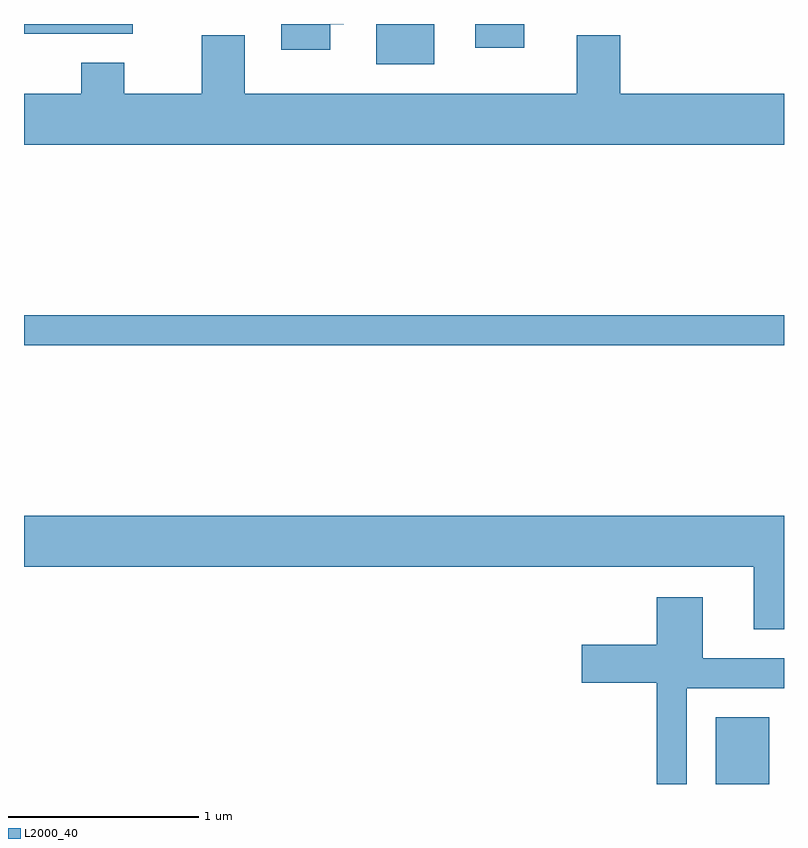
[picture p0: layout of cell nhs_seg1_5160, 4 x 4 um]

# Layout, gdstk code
import gdstk
lib = gdstk.Library(unit=1e-6, precision=1e-09)
def R(c, l, rs):  # rectangles x0, y0, x1, y1
    for r in rs: c.add(gdstk.rectangle(r[:2], r[2:], *l))
def P(c, l, *ps):  # polygons
    for p in ps: c.add(gdstk.Polygon(p, *l))
L2000_40 = (2000, 40)

nhs_seg1_5160 = lib.new_cell('nhs_seg1_5160')
R(nhs_seg1_5160, L2000_40, [(343.251,951.712,343.534,952.064), (339.611,954.021,343.611,954.179), (341.466,955.501,341.769,955.712), (341.986,955.586,342.244,955.712), (339.611,955.661,340.184,955.712)])
P(nhs_seg1_5160, L2000_40, [(341.224,955.711),(341.294,955.711),(341.294,955.712),(340.966,955.712),(340.966,955.576),(341.224,955.576)],
  [(343.611,955.344),(342.749,955.344),(342.749,955.654),(342.521,955.654),(342.521,955.344),(340.774,955.344),(340.774,955.654),(340.546,955.654),(340.546,955.344),(340.139,955.344),(340.139,955.509),(339.911,955.509),(339.911,955.344),(339.611,955.344),(339.611,955.076),(343.611,955.076)],
  [(343.611,953.124),(339.611,953.124),(339.611,952.856),(343.451,952.856),(343.451,952.526),(343.611,952.526)],
  [(343.099,952.216),(343.611,952.216),(343.611,952.374),(343.184,952.374),(343.184,952.694),(342.941,952.694),(342.941,952.444),(342.546,952.444),(342.546,952.246),(342.941,952.246),(342.941,951.712),(343.099,951.712)])

lib.write_gds('nhs_seg1_5160.gds')
